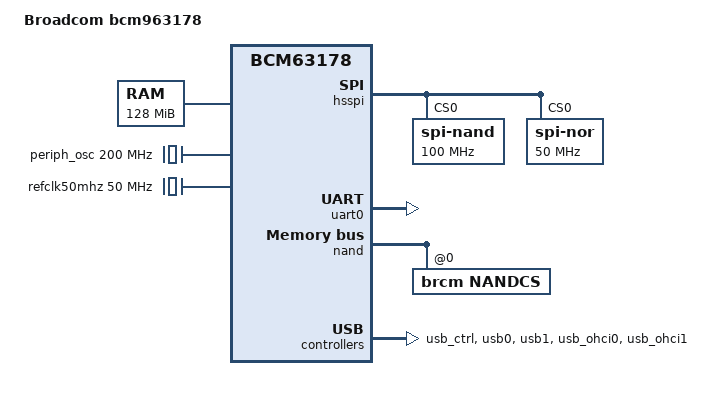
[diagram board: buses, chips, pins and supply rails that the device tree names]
/dts-v1/;

#include "bcmbca-sf2net.dtsi"
#include "bcm63178-pinctrl.dtsi"

/ {
	model = "Broadcom bcm963178";
	compatible = "broadcom,bcm963178", "brcm,brcm-v7";
	#address-cells = <0x1>;
	#size-cells = <0x1>;

	aliases {
		serial0 = &uart0;
		spi1 = &hsspi;
	};


	chosen {
		stdout-path = "serial0:115200n8";
	};

	memory {
		device_type = "memory";
		reg = <0x0 0x08000000>;
	};
	clocks {
		compatible = "simple-bus";
		#address-cells = <1>;
		#size-cells = <1>;
		ranges;
		u-boot,dm-pre-reloc;

		periph_osc: periph-osc {
			compatible = "fixed-clock";
			#clock-cells = <0>;
			clock-frequency = <200000000>;
			u-boot,dm-pre-reloc;
		};

		hsspi_pll: hsspi-pll {
			compatible = "fixed-factor-clock";
			#clock-cells = <0>;
			clocks = <&periph_osc>;
			clock-mult = <1>;
			clock-div = <1>;
			u-boot,dm-pre-reloc;
		};

		refclk50mhz: refclk50mhz {
			compatible = "fixed-clock";
			#clock-cells = <0>;
			clock-frequency = <50000000>;
		};
	};

	ubus@ff800000 {
		compatible = "simple-bus";
		#address-cells = <0x1>;
		#size-cells = <0x1>;
		u-boot,dm-pre-reloc;

		hsspi: hsspi@ff801000 {
			compatible = "brcm,bcm6328-hsspi";
			#address-cells = <0x1>;
			#size-cells = <0x0>;
			u-boot,dm-pre-reloc;
			
			reg = <0xff801000 0x1000>;
			clocks = <&hsspi_pll>, <&hsspi_pll>;
			clock-names = "hsspi", "pll";
			spi-max-frequency = <100000000>;
			num-cs = <8>;
			status = "okay";
		};

		uart0: serial@ff812000 {
			u-boot,dm-pre-reloc;
			compatible = "arm,pl011", "arm,primecell";
			reg = <0xff812000 0x1000>;
			clock = <50000000>;
			status = "okay";
		};

		wdt1: watchdog@ff800480 {
			compatible = "brcm,bcm6345-wdt";
			reg = <0xff800480 0x14>;
			clocks = <&refclk50mhz>;
		};

		wdt2: watchdog@ff8004c0 {
			compatible = "brcm,bcm6345-wdt";
			reg = <0xff8004c0 0x14>;
			clocks = <&refclk50mhz>;
		};

		wdt-reboot {
			compatible = "wdt-reboot";
			wdt = <&wdt1>;
		};

		nand: nand-controller@ff801800 {
			compatible = "brcm,nand-bcmbca",
				     "brcm,brcmnand-v7.1",
				     "brcm,brcmnand";
			reg-names = "nand", "nand-int-base", "nand-cache";
			reg = <0xff801800 0x400>,
			      <0xff802000 0x10>,
			      <0xff801c00 0x200>;
			parameter-page-big-endian = <0>;
			status = "okay";
			write-protect = <0>;
			#address-cells = <1>;
			#size-cells = <0>;

			nandcs@0 {
				compatible = "brcm,nandcs";
				reg = <0>;
			};
		};

		rng: rng@ff800b80 {
			compatible = "brcm,iproc-rng200";
			reg = <0xff800b80 0x28>;
			u-boot,dm-pre-reloc;
		};
		sysport: systemport@0x80490000 {
		compatible = "brcm,bcmbca-systemport-v2.0";
		qphy-avaiable=<0x01>;
		sphy-available=<0x01>;
		reg-names = "systemport-rbuf-base", "systemport-rdma-base",
				"systemport-tdma-base",
				"systemport-gib-base",
				"systemport-umac-base",
				"systemport-topctrl-base";
		reg =		<0x80490400 0x14>,
				<0x80492000 0x1060>,
				<0x80494000 0x650>,
				<0x80498000 0x10>,
				<0x00000000 0x00>,  
				<0x80490000 0x10>;
		ethsw = <&switchsf2>;
		};

		switchsf2: sf2@80400000 {
		compatible = "brcm,bcmbca-sf2";
		phy_base = <0x8>;
		phy_wkard_timeout = <25000>;
		reg-names = "switchcore-base",
					"switchreg-base",
					"switchmdio-base",
					"qphy-ctrl",
					"sphy-ctrl",
					"phy-test-ctrl";

		reg = <0x80400000 0x72724>,
			<0x80480000 0x458>,
			<0x804805c0 0x10>,
			<0x8048001c 0x04>,
			<0x80480024 0x04>,
			<0x80480018 0x04>;
			ports {
				port0@0 {
					phy-handle = <&gphy8>;
				};
				port1@1 {
					phy-handle = <&gphy9>;
				};
				port2@2 {
					phy-handle = <&gphya>;
				};
				port3@3 {
					phy-handle = <&gphyb>;
				};
			};
		};
		boot_state {
			u-boot,dm-pre-reloc;
			compatible = "brcm,bcmbca-bootstate-v2";
			reg-names = "reset_reason", "reset_status";
			reg =   <0xff802628 0x04>,
				<0xff85a03c 0x04>;
		};

		pinctrl: pinctrl {
			compatible = "brcm,bcmbca-pinctrl";
			reg = <0xff800554 0x14>;
		};

		usb_ctrl:usb_ctrl {
		compatible = "brcm,bcmbca-usb-ctrl";
		reg-names = "usb-ctrl";
		reg = <0x8000c200 0x100>;
		status = "okay";
		};

		usb0: usb@0x8000c300 {
		compatible = "brcm,bcmbca-ehci";
		reg-names = "usb-ehci";
		reg = <0x8000c300 0x100>;
		status = "okay";
		pinctrl-0 = <&usb0_pwr_pins>;
		pinctrl-names="default";
		};

		usb1: usb@0x8000c500 {
		compatible = "brcm,bcmbca-ehci";
		reg-names = "usb-ehci";
		reg = <0x8000c500 0x100>;
		status = "okay";
		pinctrl-0 = <&usb1_pwr_pins>;
		pinctrl-names="default";
		};

		usb_ohci0: usb_ohci@0x8000c400 {
		compatible = "brcm,bcmbca-ohci";
		reg-names = "usb-ohci";
		reg = <0x8000c400 0x100>;
		};

		usb_ohci1: usb_ohci@0x8000c600 {
		compatible = "brcm,bcmbca-ohci";
		reg-names = "usb-ohci";
		reg = <0x8000c600 0x100>;
		};
	};
};

&hsspi {
	status = "okay";
	spi-nand {
		compatible = "spi-nand";
		reg = <0>;
		#address-cells = <1>;
		#size-cells = <0>;
		u-boot,dm-pre-reloc;				
		spi-max-frequency = <100000000>;
	};
};

&hsspi {
	status = "okay";
	spi-nor@0 {
		compatible = "jedec,spi-nor";
		reg = <0>;
		#address-cells = <1>;
		#size-cells = <0>;
		spi-max-frequency = <50000000>;
		u-boot,dm-pre-reloc;
	};
};


